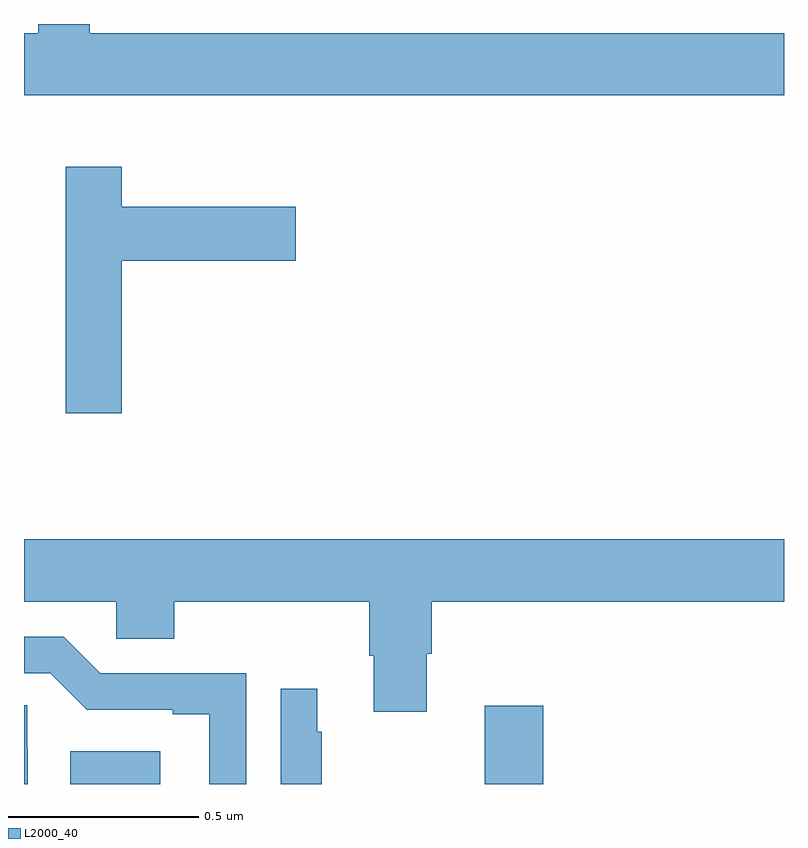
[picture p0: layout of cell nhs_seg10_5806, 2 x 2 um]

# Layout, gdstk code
import gdstk
lib = gdstk.Library(unit=1e-6, precision=1e-09)
def R(c, l, rs):  # rectangles x0, y0, x1, y1
    for r in rs: c.add(gdstk.rectangle(r[:2], r[2:], *l))
def P(c, l, *ps):  # polygons
    for p in ps: c.add(gdstk.Polygon(p, *l))
L2000_40 = (2000, 40)

nhs_seg10_5806 = lib.new_cell('nhs_seg10_5806')
R(nhs_seg10_5806, L2000_40, [(183.122,1302.5,183.358,1302.586), (184.213,1302.5,184.367,1302.706)])
P(nhs_seg10_5806, L2000_40, [(185,1304.476),(183.173,1304.476),(183.173,1304.5),(183.037,1304.5),(183.037,1304.476),(183,1304.476),(183,1304.312),(185,1304.312)],
  [(183.257,1303.877),(183.715,1303.877),(183.715,1304.019),(183.257,1304.019),(183.257,1304.125),(183.11,1304.125),(183.11,1303.476),(183.257,1303.476)],
  [(184.06,1302.843),(184.073,1302.843),(184.073,1302.98),(185,1302.98),(185,1303.144),(183,1303.144),(183,1302.98),(183.243,1302.98),(183.243,1302.882),(183.395,1302.882),(183.395,1302.98),(183.908,1302.98),(183.908,1302.838),(183.92,1302.838),(183.92,1302.69),(184.06,1302.69)],
  [(183.585,1302.792),(183.201,1302.792),(183.105,1302.888),(183,1302.888),(183,1302.792),(183.069,1302.792),(183.165,1302.696),(183.392,1302.696),(183.392,1302.684),(183.488,1302.684),(183.488,1302.5),(183.585,1302.5)],
  [(183.784,1302.638),(183.772,1302.638),(183.772,1302.751),(183.675,1302.751),(183.675,1302.5),(183.784,1302.5)],
  [(183.01,1302.596),(183.009,1302.596),(183.009,1302.707),(183,1302.707),(183,1302.5),(183.01,1302.5)])

lib.write_gds('nhs_seg10_5806.gds')
